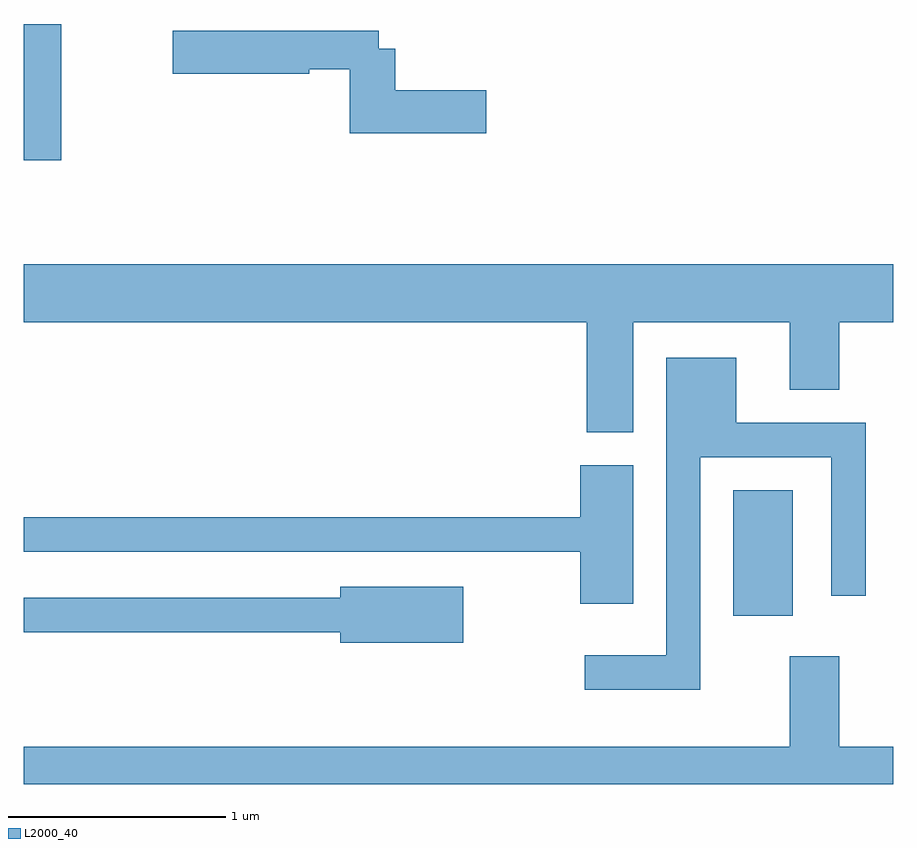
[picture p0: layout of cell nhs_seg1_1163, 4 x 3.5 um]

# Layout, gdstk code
import gdstk
lib = gdstk.Library(unit=1e-6, precision=1e-09)
def R(c, l, rs):  # rectangles x0, y0, x1, y1
    for r in rs: c.add(gdstk.rectangle(r[:2], r[2:], *l))
def P(c, l, *ps):  # polygons
    for p in ps: c.add(gdstk.Polygon(p, *l))
L2000_40 = (2000, 40)

nhs_seg1_1163 = lib.new_cell('nhs_seg1_1163')
R(nhs_seg1_1163, L2000_40, [(224.876,860.486,225.149,861.064), (221.611,862.581,221.784,863.209)])
P(nhs_seg1_1163, L2000_40, [(223.739,862.904),(223.319,862.904),(223.319,863.094),(223.244,863.094),(223.244,863.179),(222.296,863.179),(222.296,862.981),(222.924,862.981),(222.924,863.001),(223.111,863.001),(223.111,862.706),(223.739,862.706)],
  [(224.414,861.836),(225.136,861.836),(225.136,861.526),(225.364,861.526),(225.364,861.836),(225.611,861.836),(225.611,862.104),(221.611,862.104),(221.611,861.836),(224.201,861.836),(224.201,861.331),(224.414,861.331)],
  [(224.724,861.216),(225.326,861.216),(225.326,860.578),(225.484,860.578),(225.484,861.374),(224.889,861.374),(224.889,861.674),(224.566,861.674),(224.566,860.304),(224.193,860.304),(224.193,860.146),(224.724,860.146)],
  [(224.414,861.179),(224.171,861.179),(224.171,860.939),(221.611,860.939),(221.611,860.781),(224.171,860.781),(224.171,860.541),(224.414,860.541)],
  [(223.634,860.619),(223.066,860.619),(223.066,860.569),(221.611,860.569),(221.611,860.411),(223.066,860.411),(223.066,860.361),(223.634,860.361)],
  [(225.611,859.884),(225.364,859.884),(225.364,860.299),(225.136,860.299),(225.136,859.884),(221.611,859.884),(221.611,859.712),(225.611,859.712)])

lib.write_gds('nhs_seg1_1163.gds')
